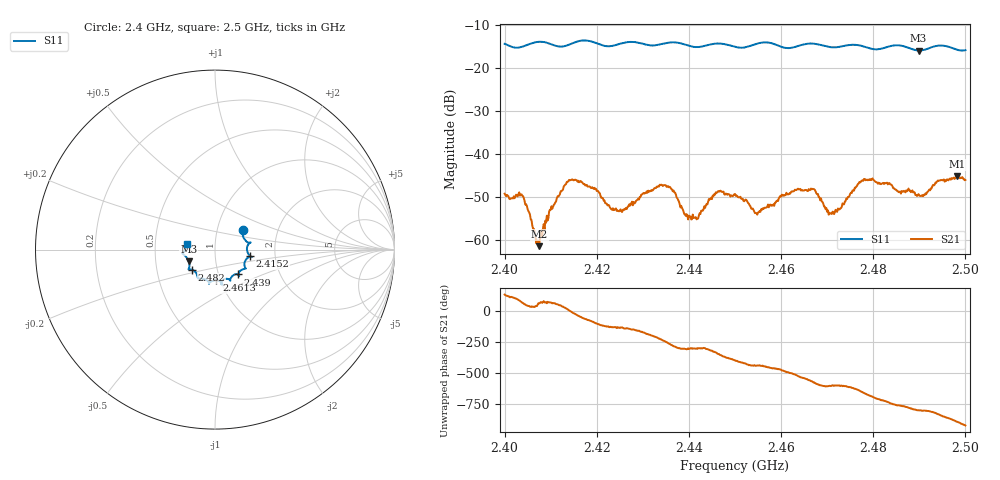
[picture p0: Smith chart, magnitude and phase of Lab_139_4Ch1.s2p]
# Hz S RI R 50
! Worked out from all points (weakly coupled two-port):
!   601 points, 2.4 GHz to 2.5 GHz, reference 50 ohm
!   highest |S21| = -45.12 dB at 2.4982 GHz (marker M1); lowest = -61.4 dB at 2.4075 GHz (marker M2)
!   lowest |S11| = -15.9 dB at 2.4898 GHz (marker M3), VSWR 1.38, Z = 37 - j5 ohm
!   |S11| at or under -10 dB: start of sweep to end of sweep
!   S12 and S22 are empty: the file has one direction only
!   S11 on the Smith chart (normalised r, x): 2.4 GHz: 1.33, +0.31; 2.4152 GHz: 1.48, -0.11; 2.439 GHz: 1.24, -0.36; 2.4613 GHz: 0.96, -0.34; 2.482 GHz: 0.76, -0.18; 2.5 GHz: 0.73, +0.05
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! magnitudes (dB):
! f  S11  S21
! 2.4 GHz  -14.3  -49.2
! 2.4037 GHz  -15.1  -49.4
! 2.4075 GHz  -13.9  -61.4
! 2.4118 GHz  -15.0  -49.6
! 2.4152 GHz  -14.0  -46.0
! 2.4167 GHz  -13.6  -46.5
! 2.425 GHz  -14.3  -53.2
! 2.4333 GHz  -14.6  -47.5
! 2.4363 GHz  -14.0  -48.2
! 2.439 GHz  -14.5  -54.0
! 2.4415 GHz  -15.1  -54.7
! 2.45 GHz  -15.0  -49.3
! 2.4547 GHz  -14.3  -53.7
! 2.4613 GHz  -15.3  -49.3
! 2.4667 GHz  -14.3  -48.2
! 2.4712 GHz  -15.2  -53.4
! 2.4775 GHz  -14.8  -46.2
! 2.482 GHz  -15.4  -46.8
! 2.4833 GHz  -15.0  -46.8
! 2.4898 GHz  -15.9  -49.3
! 2.4982 GHz  -15.7  -45.1
! 2.5 GHz  -15.8  -46.0
